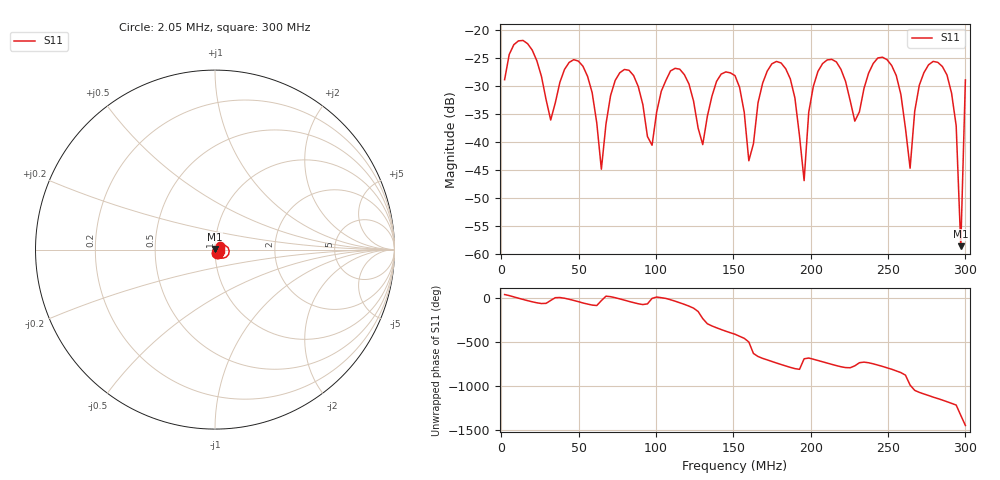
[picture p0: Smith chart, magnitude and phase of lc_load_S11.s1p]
# Hz S RI R 50
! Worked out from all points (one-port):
!   101 points, 2.05 MHz to 300 MHz, reference 50 ohm
!   lowest |S11| = -58.6 dB at 297 MHz (marker M1), VSWR 1.00, Z = 50 + j0.11 ohm
!   |S11| at or under -10 dB: start of sweep to end of sweep
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2050000  0.0292 0.0208
1.69475e7  0.0625 -0.0416
3.1845e7  0.0134 -0.00813
4.07835e7  0.044 -0.00476
5.5681e7  0.0118 -0.0366
6.46195e7  0.00478 -0.00312
7.65375e7  0.0402 -0.00979
9.7394e7  0.00925 -0.00127
1.03353e8  0.0283 -5.8e-06
1.15271e8  0.0241 -0.0375
1.301685e8  -0.00523 0.00788
1.39107e8  0.0326 0.0117
1.51025e8  0.0235 -0.0311
1.599635e8  -0.00526 -0.00429
1.74861e8  0.0497 -0.000575
1.897585e8  0.0036 -0.0244
1.957175e8  0.00392 0.00223
1.98697e8  0.0145 0.0113
2.04656e8  0.0418 0.00748
2.255125e8  0.00734 -0.0221
2.493485e8  0.0161 -0.0516
2.58287e8  -0.0157 -0.0213
2.64246e8  -0.000207 0.00582
2.70205e8  0.0316 0.00551
2.851025e8  0.0105 -0.0459
2.94041e8  -0.00956 -0.0102
2.970205e8  -0.000408 0.0011
3e8  0.0356 -0.00238
